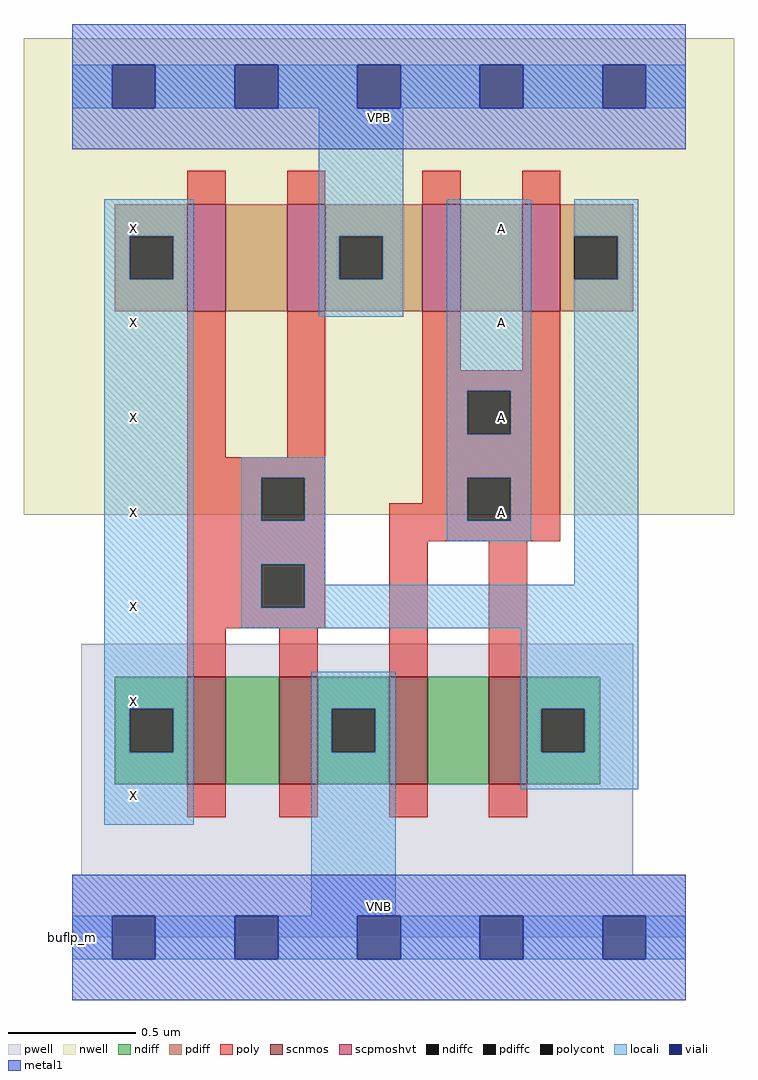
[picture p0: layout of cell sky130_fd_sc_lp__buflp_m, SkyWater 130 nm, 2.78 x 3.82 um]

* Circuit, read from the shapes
.subckt sky130_fd_sc_lp__buflp_m A VGND VNB VPB VPWR X
XM1 n1 n2 X VNB sky130_fd_pr__nfet_01v8 w=0.42 l=0.15
XM2 VGND n2 n1 VNB sky130_fd_pr__nfet_01v8 w=0.42 l=0.15
XM3 n3 A VGND VNB sky130_fd_pr__nfet_01v8 w=0.42 l=0.15
XM4 n2 A n3 VNB sky130_fd_pr__nfet_01v8 w=0.42 l=0.15
XM5 n4 n2 X VPB sky130_fd_pr__pfet_01v8_hvt w=0.42 l=0.15
XM6 VPWR n2 n4 VPB sky130_fd_pr__pfet_01v8_hvt w=0.42 l=0.15
XM7 n5 A VPWR VPB sky130_fd_pr__pfet_01v8_hvt w=0.42 l=0.15
XM8 n2 A n5 VPB sky130_fd_pr__pfet_01v8_hvt w=0.42 l=0.15
.ends

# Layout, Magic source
magic
tech sky130A
magscale 1 2
<< nwell >>
rect -38 331 518 704
<< pwell >>
rect 7 49 439 230
rect 0 0 480 49
<< scnmos >>
rect 90 120 120 204
rect 162 120 192 204
rect 248 120 278 204
rect 326 120 356 204
<< scpmoshvt >>
rect 90 490 120 574
rect 168 490 198 574
rect 274 490 304 574
rect 352 490 382 574
<< ndiff >>
rect 33 179 90 204
rect 33 145 45 179
rect 79 145 90 179
rect 33 120 90 145
rect 120 120 162 204
rect 192 179 248 204
rect 192 145 203 179
rect 237 145 248 179
rect 192 120 248 145
rect 278 120 326 204
rect 356 179 413 204
rect 356 145 367 179
rect 401 145 413 179
rect 356 120 413 145
<< pdiff >>
rect 33 549 90 574
rect 33 515 45 549
rect 79 515 90 549
rect 33 490 90 515
rect 120 490 168 574
rect 198 549 274 574
rect 198 515 209 549
rect 243 515 274 549
rect 198 490 274 515
rect 304 490 352 574
rect 382 549 439 574
rect 382 515 393 549
rect 427 515 439 549
rect 382 490 439 515
<< ndiffc >>
rect 45 145 79 179
rect 203 145 237 179
rect 367 145 401 179
<< pdiffc >>
rect 45 515 79 549
rect 209 515 243 549
rect 393 515 427 549
<< poly >>
rect 90 574 120 600
rect 168 574 198 600
rect 274 574 304 600
rect 352 574 382 600
rect 90 376 120 490
rect 168 376 198 490
rect 90 360 198 376
rect 90 326 148 360
rect 182 326 198 360
rect 274 444 304 490
rect 352 444 382 490
rect 274 428 382 444
rect 274 394 309 428
rect 343 394 382 428
rect 274 360 382 394
rect 274 340 309 360
rect 90 292 198 326
rect 90 258 148 292
rect 182 258 198 292
rect 90 242 198 258
rect 248 326 309 340
rect 343 326 382 360
rect 248 310 382 326
rect 90 204 120 242
rect 162 204 192 242
rect 248 204 278 310
rect 326 204 356 310
rect 90 94 120 120
rect 162 94 192 120
rect 248 94 278 120
rect 326 94 356 120
<< polycont >>
rect 148 326 182 360
rect 309 394 343 428
rect 148 258 182 292
rect 309 326 343 360
<< locali >>
rect 0 649 31 683
rect 65 649 127 683
rect 161 649 223 683
rect 257 649 319 683
rect 353 649 415 683
rect 449 649 480 683
rect 25 549 95 578
rect 25 515 45 549
rect 79 515 95 549
rect 25 179 95 515
rect 193 549 259 649
rect 193 515 209 549
rect 243 515 259 549
rect 193 486 259 515
rect 293 428 359 578
rect 293 394 309 428
rect 343 394 359 428
rect 132 360 198 376
rect 132 326 148 360
rect 182 326 198 360
rect 132 292 198 326
rect 293 360 359 394
rect 293 326 309 360
rect 343 326 359 360
rect 293 310 359 326
rect 393 549 443 578
rect 427 515 443 549
rect 132 258 148 292
rect 182 276 198 292
rect 393 276 443 515
rect 182 258 443 276
rect 132 242 443 258
rect 25 145 45 179
rect 79 145 95 179
rect 25 88 95 145
rect 187 179 253 208
rect 187 145 203 179
rect 237 145 253 179
rect 187 17 253 145
rect 351 179 443 242
rect 351 145 367 179
rect 401 145 443 179
rect 351 116 443 145
rect 0 -17 31 17
rect 65 -17 127 17
rect 161 -17 223 17
rect 257 -17 319 17
rect 353 -17 415 17
rect 449 -17 480 17
<< viali >>
rect 31 649 65 683
rect 127 649 161 683
rect 223 649 257 683
rect 319 649 353 683
rect 415 649 449 683
rect 31 -17 65 17
rect 127 -17 161 17
rect 223 -17 257 17
rect 319 -17 353 17
rect 415 -17 449 17
<< metal1 >>
rect 0 683 480 715
rect 0 649 31 683
rect 65 649 127 683
rect 161 649 223 683
rect 257 649 319 683
rect 353 649 415 683
rect 449 649 480 683
rect 0 617 480 649
rect 0 17 480 49
rect 0 -17 31 17
rect 65 -17 127 17
rect 161 -17 223 17
rect 257 -17 319 17
rect 353 -17 415 17
rect 449 -17 480 17
rect 0 -49 480 -17
<< labels >>
flabel pwell s 0 0 480 49 0 FreeSans 200 0 0 0 VNB
port 3 nsew ground bidirectional
flabel nwell s 0 617 480 666 0 FreeSans 200 0 0 0 VPB
port 4 nsew power bidirectional
rlabel comment s 0 0 0 0 4 buflp_m
flabel metal1 s 0 617 480 666 0 FreeSans 340 0 0 0 VPWR
port 5 nsew power bidirectional
flabel metal1 s 0 0 480 49 0 FreeSans 340 0 0 0 VGND
port 2 nsew ground bidirectional
flabel locali s 319 316 353 350 0 FreeSans 340 0 0 0 A
port 1 nsew signal input
flabel locali s 319 390 353 424 0 FreeSans 340 0 0 0 A
port 1 nsew signal input
flabel locali s 319 464 353 498 0 FreeSans 340 0 0 0 A
port 1 nsew signal input
flabel locali s 319 538 353 572 0 FreeSans 340 0 0 0 A
port 1 nsew signal input
flabel locali s 31 94 65 128 0 FreeSans 340 0 0 0 X
port 6 nsew signal output
flabel locali s 31 168 65 202 0 FreeSans 340 0 0 0 X
port 6 nsew signal output
flabel locali s 31 242 65 276 0 FreeSans 340 0 0 0 X
port 6 nsew signal output
flabel locali s 31 316 65 350 0 FreeSans 340 0 0 0 X
port 6 nsew signal output
flabel locali s 31 390 65 424 0 FreeSans 340 0 0 0 X
port 6 nsew signal output
flabel locali s 31 464 65 498 0 FreeSans 340 0 0 0 X
port 6 nsew signal output
flabel locali s 31 538 65 572 0 FreeSans 340 0 0 0 X
port 6 nsew signal output
<< properties >>
string LEFsite unit
string LEFclass CORE
string FIXED_BBOX 0 0 480 666
string GDS_FILE $PDKPATH/libs.ref/sky130_fd_sc_lp/gds/sky130_fd_sc_lp.gds
string LEFsymmetry X Y R90
string GDS_END 6941388
string GDS_START 6936532
<< end >>
